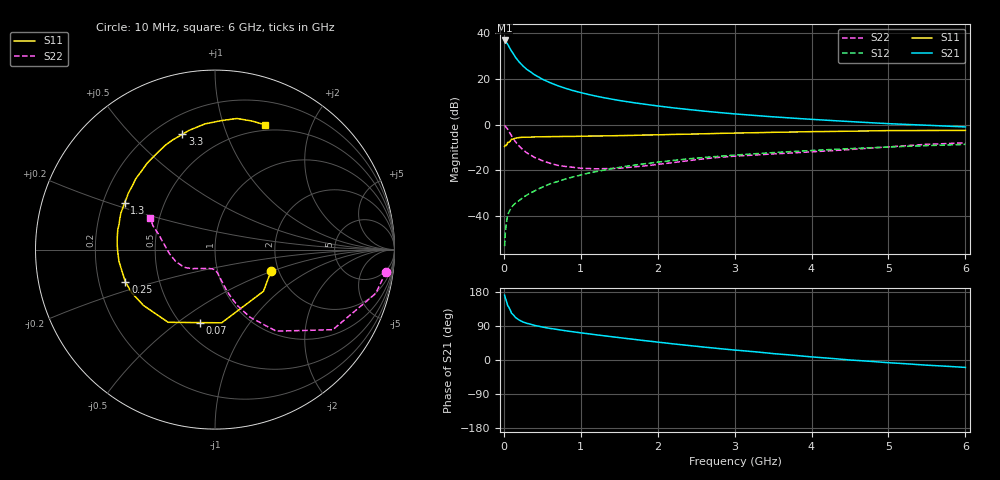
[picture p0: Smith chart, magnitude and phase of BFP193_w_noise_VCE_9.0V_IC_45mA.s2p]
! Infineon Technologies  Discrete & RF Semiconductors
! BFP193
! VCE =  9.0 V,  IC =  45 mA
! Common Emitter S-Parameters:  Jan 2017
# GHz  S  MA  R  50
!  f  S11  S21  S12  S22
! GHz  MAG  ANG  MAG  ANG  MAG  ANG  MAG  ANG
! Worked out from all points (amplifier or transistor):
!   77 points, 10 MHz to 6 GHz, reference 50 ohm
!   highest |S21| = 36.8 dB at 10 MHz (marker M1)
!   |S21| within 3 dB of that: start of sweep to 71.91 MHz
!   unconditionally stable (mu >= 1): 655.3 MHz to 2.399 GHz
!   at 130 MHz: K = 0.55, MSG = 32.8 dB, |S12| = -35.0 dB
!   at 2.2 GHz: K = 1.01, MAG = 10.9 dB, |S12| = -15.7 dB
!   at 6 GHz: K = 0.91, MSG = 3.8 dB, |S12| = -8.6 dB
!   lowest NFmin = 1.45 dB at 450 MHz
!   S11 on the Smith chart (normalised r, x): 10 MHz: 1.83, -0.48; 70 MHz: 0.62, -0.61; 250 MHz: 0.32, -0.16; 1.3 GHz: 0.29, +0.22; 3.3 GHz: 0.31, +0.71; 6 GHz: 0.44, +1.39
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0.01  0.3342 -20.5  69.35 171.2  0.0022 81.5  0.9609 -7.4
0.02  0.3561 -40.7  68.35 163.6  0.0044 85.0  0.9285 -15.2
0.05  0.4096 -84.8  57.08 143.8  0.0106 67.4  0.7939 -34.2
0.07  0.415 -101.4  49.76 137.3  0.0126 63.5  0.6953 -40.3
0.1  0.4818 -122.8  40.5 123.5  0.0156 59.5  0.5682 -53.1
0.15  0.5053 -141.9  29.89 112.3  0.0191 57.4  0.4246 -62.6
0.2  0.5225 -152.5  23.4 105.4  0.022 59.3  0.338 -68.0
0.25  0.5307 -160.2  19.11 100.3  0.0256 59.8  0.2812 -71.3
0.3  0.5311 -165.4  16.09 96.8  0.0289 61.5  0.2404 -73.8
0.4  0.5389 -173.0  12.29 91.2  0.0355 64.4  0.1918 -76.9
0.5  0.5426 -179.2  9.876 87.0  0.0429 66.0  0.1628 -79.5
0.6  0.5464 176.2  8.288 83.4  0.0507 66.2  0.143 -82.1
0.7  0.5488 172.6  7.115 80.4  0.0571 67.8  0.1291 -84.1
0.9  0.5528 165.2  5.551 74.4  0.072 66.9  0.1167 -89.7
1.1  0.5624 158.8  4.575 69.2  0.0873 65.6  0.1098 -95.5
1.3  0.5674 152.6  3.885 64.0  0.1011 64.0  0.1092 -102.5
2.1  0.6044 130.9  2.446 45.0  0.1581 55.1  0.1414 -131.7
3.1  0.6583 109.4  1.668 24.6  0.2215 43.0  0.209 -155.7
3.3  0.6678 105.8  1.572 21.0  0.2329 40.7  0.2186 -159.9
4.1  0.7052 93.0  1.277 6.7  0.2774 31.5  0.2598 -177.2
5.1  0.7408 79.2  1.034 -8.3  0.3291 20.1  0.3352 163.4
6  0.749 68.0  0.892 -19.6  0.3698 10.1  0.3998 154.2
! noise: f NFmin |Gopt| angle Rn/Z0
0.45  1.45  0.4  -171  0.08
0.9  1.49  0.43  -165  0.08
1.9  2.13  0.59  -134  0.21
2.4  2.45  0.63  -119  0.45
